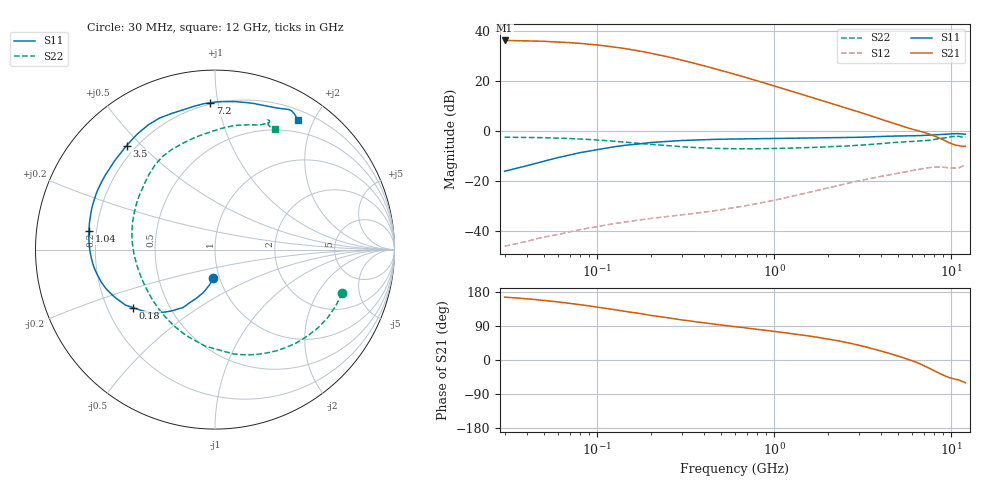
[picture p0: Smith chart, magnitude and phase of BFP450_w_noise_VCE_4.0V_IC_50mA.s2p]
! (c) 2015  Infineon Technologies AG, Munich
! Infineon Technologies  Discrete & RF Semiconductors
! BFP450
! VCE =  4.0 V,  IC =  50 mA
! Common Emitter S-Parameters:  Nov 2015
# GHz  S  MA  R  50
!  f  S11  S21  S12  S22
! GHz  MAG  ANG  MAG  ANG  MAG  ANG  MAG  ANG
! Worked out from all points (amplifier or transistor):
!   239 points, 30 MHz to 12 GHz, reference 50 ohm
!   highest |S21| = 36.3 dB at 30 MHz (marker M1)
!   |S21| within 3 dB of that: start of sweep to 135.7 MHz
!   unconditionally stable (mu >= 1): 1.182 GHz to end of sweep
!   at 300 MHz: K = 0.58, MSG = 31.0 dB, |S12| = -33.6 dB
!   at 1.88 GHz: K = 1.08, MAG = 15.9 dB, |S12| = -23.3 dB
!   at 12 GHz: K = 1.09, MAG = 1.9 dB, |S12| = -13.6 dB
!   lowest NFmin = 1.55 dB at 450 MHz
!   S11 on the Smith chart (normalised r, x): 30 MHz: 0.94, -0.30; 180 MHz: 0.31, -0.29; 1.04 GHz: 0.17, +0.07; 3.5 GHz: 0.16, +0.45; 7.2 GHz: 0.19, +0.95; 12 GHz: 0.32, +1.78
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0.03  0.1559 -93.1  65.2 165.8  0.0049 55.0  0.7496 -18.9
0.04  0.2006 -99.0  64.02 161.5  0.0061 57.4  0.7421 -25.3
0.05  0.2479 -105.2  62.64 157.2  0.0075 57.9  0.733 -31.5
0.06  0.2927 -111.2  60.81 153.5  0.0084 57.6  0.7199 -37.5
0.07  0.3296 -115.7  58.86 149.4  0.0095 56.4  0.7045 -43.3
0.085  0.3811 -120.7  55.91 144.5  0.0109 55.3  0.6813 -51.4
0.105  0.4344 -127.3  51.93 138.2  0.0125 53.4  0.6507 -61.2
0.13  0.4928 -134.0  47.17 131.6  0.0142 51.2  0.6157 -72.2
0.15  0.5246 -139.1  43.69 126.9  0.0154 49.6  0.5905 -79.9
0.18  0.5603 -144.8  39.05 121.8  0.0167 48.1  0.5551 -89.2
0.2  0.5869 -148.2  36.17 117.7  0.0176 47.3  0.5403 -95.9
0.24  0.6124 -153.5  31.69 112.6  0.019 46.6  0.5109 -105.7
0.3  0.6438 -160.0  26.26 105.8  0.0209 46.2  0.4827 -118.2
0.36  0.6606 -164.6  22.36 100.9  0.0225 46.6  0.4647 -127.4
0.45  0.6769 -170.0  18.08 94.9  0.0249 47.8  0.4496 -138.3
0.6  0.6915 -176.5  13.59 87.8  0.0291 50.0  0.4403 -150.9
1.04  0.71 171.5  7.641 74.6  0.0422 53.0  0.4462 -171.5
1.64  0.7258 159.7  4.662 62.1  0.0608 51.4  0.4672 171.9
3.5  0.7607 130.4  2.013 30.8  0.1124 33.5  0.5366 137.6
4.5  0.7882 118.1  1.494 16.8  0.1324 23.4  0.5791 125.0
7.2  0.8185 91.9  0.907 -17.7  0.1801 -4.0  0.643 96.7
12  0.8581 57.5  0.494 -60.0  0.2085 -40.2  0.7526 63.6
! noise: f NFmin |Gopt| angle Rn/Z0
0.45  1.55  0.54  -173  0.06
0.9  1.61  0.56  -168  0.07
1.9  1.71  0.6  -153  0.1
2.4  1.81  0.6  -144  0.14
